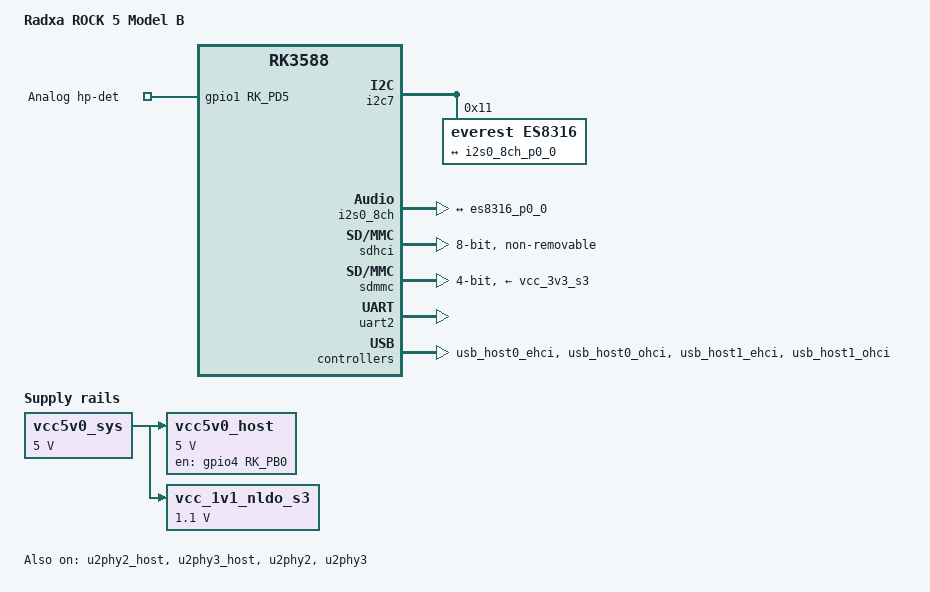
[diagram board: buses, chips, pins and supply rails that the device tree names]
// SPDX-License-Identifier: (GPL-2.0+ OR MIT)

/dts-v1/;

#include <dt-bindings/gpio/gpio.h>
#include <dt-bindings/pinctrl/rockchip.h>
#include "rk3588.dtsi"
#include "rk3588-rk806-single.dtsi"

/ {
	model = "Radxa ROCK 5 Model B";
	compatible = "radxa,rock-5b", "rockchip,rk3588";

	aliases {
		mmc0 = &sdhci;
		serial2 = &uart2;
	};

	chosen {
		stdout-path = "serial2:1500000n8";
	};

	vcc5v0_sys: vcc5v0-sys-regulator {
		compatible = "regulator-fixed";
		regulator-name = "vcc5v0_sys";
		regulator-always-on;
		regulator-boot-on;
		regulator-min-microvolt = <5000000>;
		regulator-max-microvolt = <5000000>;
	};

	vcc5v0_host: vcc5v0-host-regulator {
		compatible = "regulator-fixed";
		regulator-name = "vcc5v0_host";
		regulator-boot-on;
		regulator-always-on;
		regulator-min-microvolt = <5000000>;
		regulator-max-microvolt = <5000000>;
		enable-active-high;
		gpio = <&gpio4 RK_PB0 GPIO_ACTIVE_HIGH>;
		pinctrl-names = "default";
		pinctrl-0 = <&vcc5v0_host_en>;
		vin-supply = <&vcc5v0_sys>;
	};
	
	vcc_1v1_nldo_s3: vcc-1v1-nldo-s3 {
		compatible = "regulator-fixed";
		regulator-name = "vcc_1v1_nldo_s3";
		regulator-always-on;
		regulator-boot-on;
		regulator-min-microvolt = <1100000>;
		regulator-max-microvolt = <1100000>;
		vin-supply = <&vcc5v0_sys>;
	};

	sound {
		compatible = "audio-graph-card";
		label = "Analog";

		widgets = "Microphone", "Mic Jack",
			  "Headphone", "Headphones";

		routing = "MIC2", "Mic Jack",
			  "Headphones", "HPOL",
			  "Headphones", "HPOR";

		dais = <&i2s0_8ch_p0>;
		hp-det-gpio = <&gpio1 RK_PD5 GPIO_ACTIVE_HIGH>;
		pinctrl-names = "default";
		pinctrl-0 = <&hp_detect>;
	};
};

&i2c7 {
	status = "okay";

	es8316: es8316@11 {
		compatible = "everest,es8316";
		reg = <0x11>;
		clocks = <&cru I2S0_8CH_MCLKOUT>;
		clock-names = "mclk";
		#sound-dai-cells = <0>;

		port {
			es8316_p0_0: endpoint {
				remote-endpoint = <&i2s0_8ch_p0_0>;
			};
		};
	};
};

&i2s0_8ch {
	pinctrl-names = "default";
	pinctrl-0 = <&i2s0_lrck
		     &i2s0_mclk
		     &i2s0_sclk
		     &i2s0_sdi0
		     &i2s0_sdo0>;
	status = "okay";

	i2s0_8ch_p0: port {
		i2s0_8ch_p0_0: endpoint {
			dai-format = "i2s";
			mclk-fs = <256>;
			remote-endpoint = <&es8316_p0_0>;
		};
	};
};

&sdhci {
	bus-width = <8>;
	no-sdio;
	no-sd;
	non-removable;
	max-frequency = <200000000>;
	mmc-hs400-1_8v;
	mmc-hs400-enhanced-strobe;
	status = "okay";
};

&sdmmc {
	max-frequency = <200000000>;
	no-sdio;
	no-mmc;
	bus-width = <4>;
	cap-mmc-highspeed;
	cap-sd-highspeed;
	disable-wp;
	sd-uhs-sdr104;
	vmmc-supply = <&vcc_3v3_s3>;
	vqmmc-supply = <&vccio_sd_s0>;
	pinctrl-names = "default";
	pinctrl-0 = <&sdmmc_bus4 &sdmmc_clk &sdmmc_cmd &sdmmc_det>;
	status = "okay";
};

&uart2 {
	pinctrl-0 = <&uart2m0_xfer>;
	status = "okay";
};

&u2phy2_host {
	/* connected to USB hub, which is powered by vcc5v0_sys */
	phy-supply = <&vcc5v0_sys>;
	status = "okay";
};

&u2phy3_host {
	phy-supply = <&vcc5v0_host>;
	status = "okay";
};

&u2phy2 {
	status = "okay";
};

&u2phy3 {
	status = "okay";
};

&usb_host0_ehci {
	status = "okay";
};

&usb_host0_ohci {
	status = "okay";
};

&usb_host1_ehci {
	status = "okay";
};

&usb_host1_ohci {
	status = "okay";
};

&pinctrl {
	sound {
		hp_detect: hp-detect {
			rockchip,pins = <1 RK_PD5 RK_FUNC_GPIO &pcfg_pull_none>;
		};
	};

	usb {
		vcc5v0_host_en: vcc5v0-host-en {
			rockchip,pins = <4 RK_PB0 RK_FUNC_GPIO &pcfg_pull_none>;
		};
	};
};
